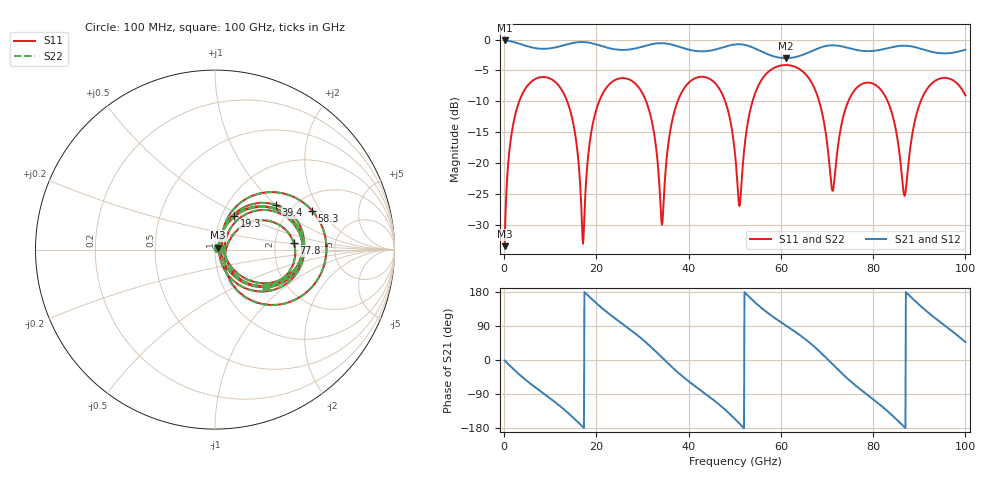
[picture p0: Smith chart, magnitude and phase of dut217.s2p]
! Touchstone file exported from HFSS 2026.1.0
!  File:  C:/ffzhzh/LocalFiles/Ansys_Project_Files/temp_train_TSV_RDL_217_1783661854_33328.aedt
!  Generated:  01:51:07 PM Jul 10, 2026
!  Design:  TSV_RDL
!  Project:  temp_train_TSV_RDL_217_1783661854_33328
! Variables:
!  h_bsmrdl = 3.78um
!  h_ox = 20um
!  h_rdl = 5um
!  h_sub = 83.41um
!  h_tmrdl = 3.53um
!  h_tsv = 83.41um
!  h_via = 3um
!  l_bsmrdl = 114.49um
!  l_sub = 3404.85um
!  l_tmrdl = 641.72um
!  m_sub = 200um
!  pitch = 42.76um
!  r_tsv = 6.73um
!  s_tmrdl = 10um
!  w_bsmrdl = 10.45um
!  w_sub = 500um
!  w_tmrdl = 21.05um
!  x_tsv_center1 = 652.245um
!  x_tsv_center2 = 777.185um
!  x_tsv_center3 = 1439.955um
!  x_tsv_center4 = 1564.895um
!  x_tsv_center5 = 2227.665um
!  x_tsv_center6 = 2352.605um
# GHz S MA R 50.000000
! Terminal data exported
! Port[1] = TM_RDL1_1_T1
! Port[2] = TM_RDL5_1_T1
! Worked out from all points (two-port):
!   1000 points, 100 MHz to 100 GHz, reference 50 ohm
!   highest |S21| = -0.15 dB at 100 MHz (marker M1); lowest = -3.0 dB at 61.1 GHz (marker M2)
!   |S21| within 3 dB of the highest: start of sweep to end of sweep
!   lowest |S11| = -33.5 dB at 100 MHz (marker M3), VSWR 1.04, Z = 51.8 + j1.2 ohm
!   |S11| at or under -10 dB: 13.66 GHz to 20.6 GHz (6.936 GHz wide, 40.5 % of centre); 30.78 GHz to 37.62 GHz (6.848 GHz wide, 20 % of centre); 83.16 GHz to 90.32 GHz (7.162 GHz wide, 8.26 % of centre) (the widest 3 of 6)
!   |S22| runs from -33.5 to -4.1 dB; largest |S21 - S12| = 2.4e-12
!   S11 on the Smith chart (normalised r, x): 100 MHz: 1.04, +0.02; 19.3 GHz: 1.14, +0.45; 39.4 GHz: 1.65, +1.00; 58.3 GHz: 2.56, +1.69; 77.8 GHz: 2.55, +0.24; 100 GHz: 1.57, -0.75
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0.1  0.02124 33.1  0.9824 -1.3  0.9824 -1.3  0.02124 33.1
! Gamma 0 0 0 0
! Port Impedance 50 0 50 0
2.4  0.2457 56.2  0.9461 -28.4  0.9461 -28.4  0.2457 56.2
7.8  0.4947 6.1  0.8429 -81.7  0.8429 -81.7  0.4947 6.1
14.1  0.2835 -50.7  0.9227 -142.4  0.9227 -142.4  0.2834 -50.7
16.8  0.03786 -49.5  0.9544 -173.4  0.9544 -173.4  0.03785 -49.3
19.3  0.2145 60.4  0.9269 157.5  0.9269 157.5  0.2146 60.4
28  0.4539 -16.1  0.8399 73.8  0.8399 73.8  0.4541 -16.0
33.4  0.08964 -54.7  0.9321 16.4  0.9321 16.4  0.09021 -53.9
34.3  0.03269 19.4  0.9337 5.7  0.9337 5.7  0.03404 18.7
39.4  0.4215 36.2  0.8403 -50.4  0.8403 -50.4  0.4216 36.0
46.4  0.413 -22.9  0.8414 -115.3  0.8414 -115.3  0.413 -23.1
50.1  0.114 -45.2  0.9126 -156.5  0.9126 -156.5  0.1138 -45.6
51.1  0.04597 21.9  0.9155 -168.8  0.9155 -168.8  0.04542 21.9
58.3  0.5831 21.8  0.7333 114.1  0.7333 114.1  0.5832 21.8
61.1  0.6211 0.6  0.7061 90.8  0.7061 90.8  0.6212 0.4
66.7  0.4448 -43.9  0.8063 40.9  0.8063 40.9  0.4449 -44.1
71.2  0.05957 -12.0  0.8978 -11.4  0.8978 -11.4  0.05738 -12.4
77.8  0.4402 4.9  0.8081 -82.9  0.8081 -82.9  0.4398 5.0
83.4  0.3007 -41.5  0.8556 -138.1  0.8556 -138.1  0.3006 -41.4
86.8  0.05436 0.6  0.891 -177.3  0.891 -177.3  0.0543 0.6
91.5  0.3878 33.6  0.8173 129.6  0.8173 129.6  0.3877 33.6
100  0.3528 -36.5  0.8265 47.2  0.8265 47.2  0.3525 -36.7
